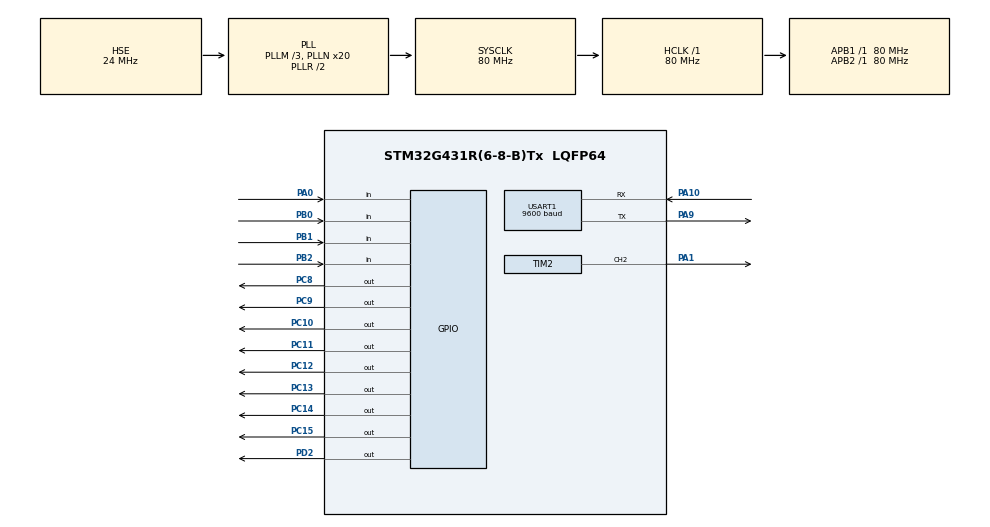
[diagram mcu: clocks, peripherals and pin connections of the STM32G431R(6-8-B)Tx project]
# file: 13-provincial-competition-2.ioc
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Mcu.Family=STM32G4
Mcu.Name=STM32G431R(6-8-B)Tx
Mcu.Package=LQFP64
NVIC.PriorityGroup=NVIC_PRIORITYGROUP_4
NVIC.TIM3_IRQn=true\:0\:0\:false\:false\:true\:true\:true\:true
NVIC.TIM4_IRQn=true\:0\:0\:false\:false\:true\:true\:true\:true
NVIC.USART1_IRQn=true\:0\:0\:false\:false\:true\:true\:true\:true
PA0.GPIO_Mode=GPIO_MODE_INPUT
PA0.GPIO_PuPd=GPIO_PULLUP
PA0.Signal=GPIO_Input
PA1.Signal=S_TIM2_CH2
PA10.Mode=Asynchronous
PA10.Signal=USART1_RX
PA13.Mode=Serial_Wire
PA13.Signal=SYS_JTMS-SWDIO
PA14.Mode=Serial_Wire
PA14.Signal=SYS_JTCK-SWCLK
PA9.Mode=Asynchronous
PA9.Signal=USART1_TX
PB0.GPIO_Mode=GPIO_MODE_INPUT
PB0.GPIO_PuPd=GPIO_PULLUP
PB0.Signal=GPIO_Input
PB1.GPIO_Mode=GPIO_MODE_INPUT
PB1.GPIO_PuPd=GPIO_PULLUP
PB1.Signal=GPIO_Input
PB2.GPIO_Mode=GPIO_MODE_INPUT
PB2.GPIO_PuPd=GPIO_PULLUP
PB2.Signal=GPIO_Input
PC10.PinState=GPIO_PIN_SET
PC10.Signal=GPIO_Output
PC11.PinState=GPIO_PIN_SET
PC11.Signal=GPIO_Output
PC12.PinState=GPIO_PIN_SET
PC12.Signal=GPIO_Output
PC13.PinState=GPIO_PIN_SET
PC13.Signal=GPIO_Output
PC14-OSC32_IN.PinState=GPIO_PIN_SET
PC14-OSC32_IN.Signal=GPIO_Output
PC15-OSC32_OUT.PinState=GPIO_PIN_SET
PC15-OSC32_OUT.Signal=GPIO_Output
PC8.PinState=GPIO_PIN_SET
PC8.Signal=GPIO_Output
PC9.PinState=GPIO_PIN_SET
PC9.Signal=GPIO_Output
PD2.Signal=GPIO_Output
PF0-OSC_IN.Mode=HSE-External-Oscillator
PF0-OSC_IN.Signal=RCC_OSC_IN
PF1-OSC_OUT.Mode=HSE-External-Oscillator
PF1-OSC_OUT.Signal=RCC_OSC_OUT
ProjectManager.HeapSize=0x200
ProjectManager.StackSize=0x400
ProjectManager.TargetToolchain=MDK-ARM V5.32
RCC.ADC12Freq_Value=80000000
RCC.AHBFreq_Value=80000000
RCC.APB1Freq_Value=80000000
RCC.APB1TimFreq_Value=80000000
RCC.APB2Freq_Value=80000000
RCC.APB2TimFreq_Value=80000000
RCC.CortexFreq_Value=80000000
RCC.EXTERNAL_CLOCK_VALUE=12288000
RCC.HCLKFreq_Value=80000000
RCC.HSE_VALUE=24000000
RCC.HSI48_VALUE=48000000
RCC.HSI_VALUE=16000000
RCC.LSE_VALUE=32768
RCC.PLLM=RCC_PLLM_DIV3
RCC.PLLN=20
RCC.PLLSourceVirtual=RCC_PLLSOURCE_HSE
RCC.SYSCLKFreq_VALUE=80000000
RCC.SYSCLKSource=RCC_SYSCLKSOURCE_PLLCLK
RCC.USBFreq_Value=80000000
RCC.VCOOutputFreq_Value=160000000
SH.S_TIM2_CH2.0=TIM2_CH2,PWM Generation2 CH2
TIM2.AutoReloadPreload=TIM_AUTORELOAD_PRELOAD_DISABLE
TIM2.Channel-PWM\ Generation2\ CH2=TIM_CHANNEL_2
TIM2.PeriodNoDither=100-1
TIM2.Prescaler=400-1
TIM3.PeriodNoDither=10000-1
TIM3.Prescaler=8000-1
TIM4.PeriodNoDither=10000-1
TIM4.Prescaler=800-1
TIM8.PeriodNoDither=65535
TIM8.Prescaler=8000-1
USART1.BaudRate=9600
USART1.VirtualMode-Asynchronous=VM_ASYNC
VP_SYS_VS_DBSignals.Mode=DisableDeadBatterySignals
VP_TIM3_VS_ClockSourceINT.Mode=Internal
VP_TIM4_VS_ClockSourceINT.Mode=Internal
VP_TIM8_VS_ClockSourceINT.Mode=Internal
board=custom

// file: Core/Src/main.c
/* USER CODE BEGIN Header */
/**
  ******************************************************************************
  * @file           : main.c
  * @brief          : Main program body
  ******************************************************************************
  * @attention
  *
  * Copyright (c) 2025 STMicroelectronics.
  * All rights reserved.
  *
  * This software is licensed under terms that can be found in the LICENSE file
  * in the root directory of this software component.
  * If no LICENSE file comes with this software, it is provided AS-IS.
  *
  ******************************************************************************
  */
/* USER CODE END Header */
#include "main.h"
#include "tim.h"
#include "usart.h"
#include "gpio.h"

/* USER CODE BEGIN Includes */
#include "stdio.h"
#include "stdint.h"
#include "string.h"
#include "i2c_hal.h"
#include "lcd.h"
/* USER CODE END Includes */

/* USER CODE BEGIN PV */
char text[20];
uint8_t cnt_x=10, cnt_y=10, buy_x=0, buy_y=0;double price_x=1.0, price_y=1.0;
uint8_t page=0;
uint8_t key_val, key_down, key_up, key_last_val;
char rec_buf[255], send_buf[255];uint8_t rec_data, count, rec_flag;
uint8_t led1_flag, led2_flag, sec_5=0;
/* USER CODE END PV */

void SystemClock_Config(void);
/* USER CODE BEGIN PFP */
void LCD_Proc(void);
void LED_Proc(void);
void KEY_Proc(void);
void USART_Proc(void);
/* USER CODE END PFP */

int main(void)
{

  /* MCU Configuration--------------------------------------------------------*/

  /* Reset of all peripherals, Initializes the Flash interface and the Systick. */
  HAL_Init();

  /* Configure the system clock */
  SystemClock_Config();

  /* Initialize all configured peripherals */
  MX_GPIO_Init();
  MX_USART1_UART_Init();
  MX_TIM3_Init();
  MX_TIM4_Init();
  MX_TIM8_Init();
  MX_TIM2_Init();
  /* USER CODE BEGIN 2 */
    // LCD
    LCD_Init();
    LCD_Clear(Black);
    LCD_SetBackColor(Black);
    LCD_SetTextColor(White);
    // I2C
    I2CInit();
    cnt_x=EEPROM_Read(0);
    cnt_y=EEPROM_Read(1);
    price_x=EEPROM_Read(2)*1.0/10;
    price_y=EEPROM_Read(3)*1.0/10;
    // USART
    HAL_UART_Receive_IT(&huart1, &rec_data, 1);
    // TIM
    HAL_TIM_Base_Start(&htim8);
    TIM4->CNT=0;
    HAL_TIM_PWM_Start(&htim2, TIM_CHANNEL_2);
    TIM2->CCR2=5;
  /* USER CODE END 2 */

  /* Infinite loop */
  /* USER CODE BEGIN WHILE */
  while (1)
  {
      LCD_Proc();
      LED_Proc();
      KEY_Proc();
      USART_Proc();
      if(cnt_x==0 && cnt_y==0){
          HAL_TIM_Base_Start_IT(&htim4);
      }else{
          HAL_TIM_Base_Stop_IT(&htim4);
          led2_flag=0;
          TIM4->CNT=0;
      }
    /* USER CODE END WHILE */

  }
}

void SystemClock_Config(void)
{
  RCC_OscInitTypeDef RCC_OscInitStruct = {0};
  RCC_ClkInitTypeDef RCC_ClkInitStruct = {0};

  /** Configure the main internal regulator output voltage
  */
  HAL_PWREx_ControlVoltageScaling(PWR_REGULATOR_VOLTAGE_SCALE1);

  /** Initializes the RCC Oscillators according to the specified parameters
  * in the RCC_OscInitTypeDef structure.
  */
  RCC_OscInitStruct.OscillatorType = RCC_OSCILLATORTYPE_HSE;
  RCC_OscInitStruct.HSEState = RCC_HSE_ON;
  RCC_OscInitStruct.PLL.PLLState = RCC_PLL_ON;
  RCC_OscInitStruct.PLL.PLLSource = RCC_PLLSOURCE_HSE;
  RCC_OscInitStruct.PLL.PLLM = RCC_PLLM_DIV3;
  RCC_OscInitStruct.PLL.PLLN = 20;
  RCC_OscInitStruct.PLL.PLLP = RCC_PLLP_DIV2;
  RCC_OscInitStruct.PLL.PLLQ = RCC_PLLQ_DIV2;
  RCC_OscInitStruct.PLL.PLLR = RCC_PLLR_DIV2;
  if (HAL_RCC_OscConfig(&RCC_OscInitStruct) != HAL_OK)
  {
    Error_Handler();
  }

  /** Initializes the CPU, AHB and APB buses clocks
  */
  RCC_ClkInitStruct.ClockType = RCC_CLOCKTYPE_HCLK|RCC_CLOCKTYPE_SYSCLK
                              |RCC_CLOCKTYPE_PCLK1|RCC_CLOCKTYPE_PCLK2;
  RCC_ClkInitStruct.SYSCLKSource = RCC_SYSCLKSOURCE_PLLCLK;
  RCC_ClkInitStruct.AHBCLKDivider = RCC_SYSCLK_DIV1;
  RCC_ClkInitStruct.APB1CLKDivider = RCC_HCLK_DIV1;
  RCC_ClkInitStruct.APB2CLKDivider = RCC_HCLK_DIV1;

  if (HAL_RCC_ClockConfig(&RCC_ClkInitStruct, FLASH_LATENCY_2) != HAL_OK)
  {
    Error_Handler();
  }
}

/* USER CODE BEGIN 4 */
void LCD_Proc(void){
    if(page==0){
        sprintf(text, "        SHOP        ");
        LCD_DisplayStringLine(Line1, (uint8_t*)text);
        sprintf(text, "     X:%d          ", buy_x);
        LCD_DisplayStringLine(Line3, (uint8_t*)text);
        sprintf(text, "     Y:%d          ", buy_y);
        LCD_DisplayStringLine(Line4, (uint8_t*)text);
    }else if(page==1){
        sprintf(text, "        PRICE       ");
        LCD_DisplayStringLine(Line1, (uint8_t*)text);
        sprintf(text, "     X:%.1f          ", price_x);
        LCD_DisplayStringLine(Line3, (uint8_t*)text);
        sprintf(text, "     Y:%.1f          ", price_y);
        LCD_DisplayStringLine(Line4, (uint8_t*)text);
    }else{
        sprintf(text, "        REP         ");
        LCD_DisplayStringLine(Line1, (uint8_t*)text);
        sprintf(text, "     X:%d          ", cnt_x);
        LCD_DisplayStringLine(Line3, (uint8_t*)text);
        sprintf(text, "     Y:%d          ", cnt_y);
        LCD_DisplayStringLine(Line4, (uint8_t*)text);
    }
    sprintf(text, "     Y:%d          ", TIM2->CCR2);
    LCD_DisplayStringLine(Line8, (uint8_t*)text);
}
uint8_t KEY_Scan(){
    uint8_t key_value=0;
    if(HAL_GPIO_ReadPin(GPIOB, GPIO_PIN_0)==GPIO_PIN_RESET){
        key_value=1;
    }
    if(HAL_GPIO_ReadPin(GPIOB, GPIO_PIN_1)==GPIO_PIN_RESET){
        key_value=2;
    }
    if(HAL_GPIO_ReadPin(GPIOB, GPIO_PIN_2)==GPIO_PIN_RESET){
        key_value=3;
    }
    if(HAL_GPIO_ReadPin(GPIOA, GPIO_PIN_0)==GPIO_PIN_RESET){
        key_value=4;
    }
    return key_value;
}
void KEY_Proc(void){
    key_val=KEY_Scan();
    key_down=key_val&(key_val^key_last_val);
    key_up=~key_val&(key_val^key_last_val);
    key_last_val=key_val;
    if(key_down==1){
        page++;
        page%=3;
        LCD_Clear(Black);
    }
    if(key_down==2){
        if(page==0){
            buy_x++;
            if(buy_x > cnt_x) buy_x=0;
        }else if(page==1){
            price_x += 0.1;
            if(price_x >= 2.1) price_x=1.0;
            EEPROM_Write(2, (uint8_t)(price_x*10));
        }else{
            cnt_x++;
            EEPROM_Write(0, cnt_x);
        }
    }
    if(key_down==3){
        if(page==0){
            buy_y++;
            if(buy_y > cnt_y) buy_y=0;
        }else if(page==1){
            price_y += 0.1;
            if(price_y >= 2.1) price_y=1.0;
            EEPROM_Write(3, (uint8_t)(price_y*10));
        }else{
            cnt_y++;
            EEPROM_Write(1, cnt_y);
        }
    }
    if(key_down==4){
        if(page==0){
            if(buy_x!=0){
                cnt_x=cnt_x-buy_x;
                EEPROM_Write(0, cnt_x);
            }
            if(buy_y!=0){
                cnt_y=cnt_y-buy_y;
                EEPROM_Write(1, cnt_y);
            }
            sprintf(send_buf, "X:%d,Y:%d,Z:%.1f\r\n", buy_x, buy_y, buy_x*price_x+buy_y*price_y);
            HAL_UART_Transmit(&huart1, (uint8_t*)send_buf, strlen(send_buf), 50);
            led1_flag=1;
            TIM2->CCR2=30;
            TIM3->CNT=0;
            HAL_TIM_Base_Start_IT(&htim3);
            buy_x=0;buy_y=0;
        }
    }
}
void LED_Show(uint8_t led, uint8_t mode){
    if(mode){
        HAL_GPIO_WritePin(GPIOC, led<<8, GPIO_PIN_RESET);
        HAL_GPIO_WritePin(GPIOD, GPIO_PIN_2, GPIO_PIN_SET);
        HAL_GPIO_WritePin(GPIOD, GPIO_PIN_2, GPIO_PIN_RESET);
    }else{
        HAL_GPIO_WritePin(GPIOC, led<<8, GPIO_PIN_SET);
        HAL_GPIO_WritePin(GPIOD, GPIO_PIN_2, GPIO_PIN_SET);
        HAL_GPIO_WritePin(GPIOD, GPIO_PIN_2, GPIO_PIN_RESET);
    }
}
void LED_Proc(void){
    LED_Show(0x01, led1_flag);
    LED_Show(0x02, led2_flag);
}
void HAL_UART_RxCpltCallback(UART_HandleTypeDef *huart){
    if(huart->Instance==USART1){
        rec_buf[count]=rec_data;
        count++;
        TIM8->CNT=0;
        rec_flag=1;
        HAL_UART_Receive_IT(huart, &rec_data, 1);
    }
}
void USART_Proc(void){
    if(rec_flag){
        if(TIM8->CNT>15){
            if(strcmp(rec_buf, "?")==0){
                sprintf(send_buf, "X:%.1f,Y:%.1f\r\n", price_x, price_y);
                HAL_UART_Transmit(&huart1, (uint8_t*)send_buf, strlen(send_buf), 50);
            }
            memset(rec_buf, 0, sizeof(rec_buf));
            count=0;
            rec_flag=0;
        }
    }
}
void HAL_TIM_PeriodElapsedCallback(TIM_HandleTypeDef *htim){
    if(htim->Instance==TIM3){
        sec_5++;
        if(sec_5==5){
            led1_flag=0;
            TIM2->CCR2=5;
            sec_5=0;
            HAL_TIM_Base_Stop_IT(htim);
            TIM3->CNT=0;
        }
    }
    if(htim->Instance==TIM4){
        led2_flag^=1;
    }
}
/* USER CODE END 4 */

void Error_Handler(void)
{
  __disable_irq();
  while (1)
  {
  }
}
